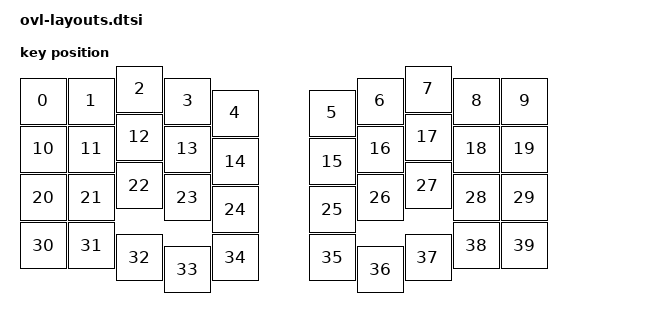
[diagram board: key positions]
// See https://zmk.dev/docs/development/hardware-integration/physical-layouts
// for how to configure this.

#include <physical_layouts.dtsi>

/ {
    ovl_physical_layout: ovl_physical_layout {
        compatible = "zmk,physical-layout";
        display-name = "OVL";
        transform = <&default_transform>;
        kscan = <&kscan0>;

        keys  //                     w   h    x    y     rot    rx    ry
            = <&key_physical_attrs 100 100    0   24       0     0     0>
            , <&key_physical_attrs 100 100   96   24       0     0     0>
            , <&key_physical_attrs 100 100  193    0       0     0     0>
            , <&key_physical_attrs 100 100  289   24       0     0     0>
            , <&key_physical_attrs 100 100  385   48       0     0     0>
            , <&key_physical_attrs 100 100  578   48       0     0     0>
            , <&key_physical_attrs 100 100  674   24       0     0     0>
            , <&key_physical_attrs 100 100  770    0       0     0     0>
            , <&key_physical_attrs 100 100  867   24       0     0     0>
            , <&key_physical_attrs 100 100  963   24       0     0     0>
            , <&key_physical_attrs 100 100    0  120       0     0     0>
            , <&key_physical_attrs 100 100   96  120       0     0     0>
            , <&key_physical_attrs 100 100  193   96       0     0     0>
            , <&key_physical_attrs 100 100  289  120       0     0     0>
            , <&key_physical_attrs 100 100  385  145       0     0     0>
            , <&key_physical_attrs 100 100  578  145       0     0     0>
            , <&key_physical_attrs 100 100  674  120       0     0     0>
            , <&key_physical_attrs 100 100  770   96       0     0     0>
            , <&key_physical_attrs 100 100  867  120       0     0     0>
            , <&key_physical_attrs 100 100  963  120       0     0     0>
            , <&key_physical_attrs 100 100    0  217       0     0     0>
            , <&key_physical_attrs 100 100   96  217       0     0     0>
            , <&key_physical_attrs 100 100  193  193       0     0     0>
            , <&key_physical_attrs 100 100  289  217       0     0     0>
            , <&key_physical_attrs 100 100  385  241       0     0     0>
            , <&key_physical_attrs 100 100  578  241       0     0     0>
            , <&key_physical_attrs 100 100  674  217       0     0     0>
            , <&key_physical_attrs 100 100  770  193       0     0     0>
            , <&key_physical_attrs 100 100  867  217       0     0     0>
            , <&key_physical_attrs 100 100  963  217       0     0     0>
            , <&key_physical_attrs 100 100    0  313       0     0     0>
            , <&key_physical_attrs 100 100   96  313       0     0     0>
            , <&key_physical_attrs 100 100  193  337       0     0     0>
            , <&key_physical_attrs 100 100  289  361       0     0     0>
            , <&key_physical_attrs 100 100  385  337       0     0     0>
            , <&key_physical_attrs 100 100  578  337       0     0     0>
            , <&key_physical_attrs 100 100  674  361       0     0     0>
            , <&key_physical_attrs 100 100  770  337       0     0     0>
            , <&key_physical_attrs 100 100  867  313       0     0     0>
            , <&key_physical_attrs 100 100  963  313       0     0     0>
            ;
    };
};
